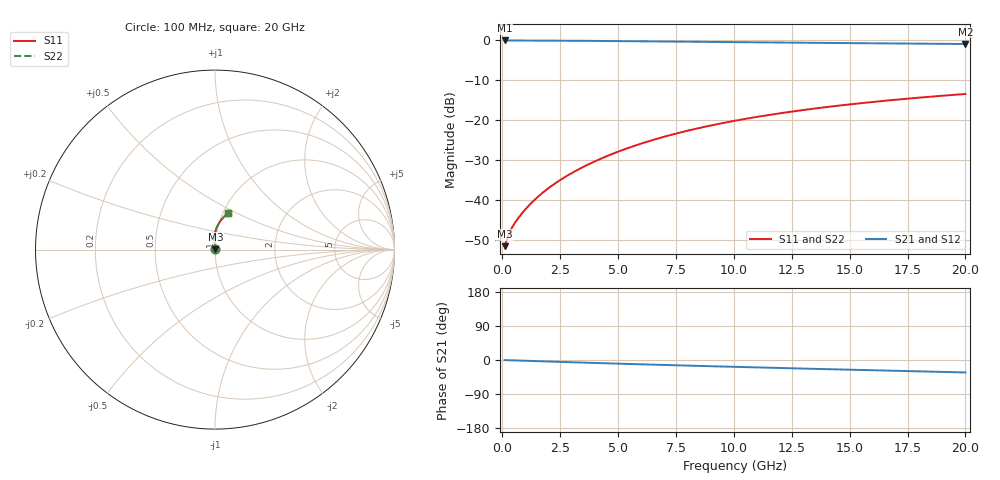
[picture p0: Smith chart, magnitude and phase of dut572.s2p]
! Touchstone file exported from HFSS 2024.1.0
!  File:  C:/UserFiles/LocalFiles/RDL_TSV_Batchsim/temp_RDL_bottom_572_1779690223.aedt
!  Generated:  02:26:06 PM May 25, 2026
!  Design:  RDL_bottom
!  Project:  temp_RDL_bottom_572_1779690223
!  Setup:  Setup1
!  Solution:  Sweep
! Variables:
!  dtsv = 10.80580581um
!  hbump = 3um
!  htsv = 58.52um
!  ldown = 544.76um
!  lrdl = 100um
!  p = 40
!  p1 = 40.38um
!  rhole = 1um
!  t = 450um
!  tdown = 3.23um
!  trdl = 3.915915916um
!  wdown = 27.39um
!  wrdl = 20um
# GHz S MA R 50.000000
! Terminal data exported
! Port[1] = RDL1_T1
! Port[2] = RDL1_T2
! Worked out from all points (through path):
!   200 points, 100 MHz to 20 GHz, reference 50 ohm
!   highest |S21| = -0.02 dB at 100 MHz (marker M1); lowest = -0.9 dB at 20 GHz (marker M2)
!   group delay of S21, straight-line fit = 4.49 ps
!   lowest |S11| = -51.5 dB at 100 MHz (marker M3), VSWR 1.01, Z = 50.2 + j0.0986 ohm
!   |S11| at or under -10 dB: start of sweep to end of sweep
!   |S22| runs from -51.5 to -13.4 dB; largest |S21 - S12| = 4.2e-15
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0.1  0.002658 21.7  0.9975 -0.2  0.9975 -0.2  0.002658 21.7
! Gamma 0 0 0 0
! Port Impedance 50 0 50 0
0.2  0.00324 34.7  0.9973 -0.4  0.9973 -0.4  0.00324 34.7
0.3  0.003852 42.1  0.997 -0.6  0.997 -0.6  0.003852 42.1
0.4  0.004423 47.3  0.9968 -0.8  0.9968 -0.8  0.004423 47.3
0.5  0.004964 51.6  0.9966 -1.0  0.9966 -1.0  0.004964 51.6
0.8  0.006573 61.6  0.996 -1.6  0.996 -1.6  0.006574 61.6
1.2  0.008892 70.9  0.9953 -2.4  0.9953 -2.4  0.008892 70.9
1.7  0.0121 78.6  0.994 -3.4  0.994 -3.4  0.0121 78.6
2.2  0.01562 83.7  0.9925 -4.4  0.9925 -4.4  0.01562 83.7
2.8  0.02022 87.9  0.9903 -5.6  0.9903 -5.6  0.02022 87.9
3.5  0.02611 91.0  0.9872 -6.9  0.9872 -6.9  0.02611 91.0
4.2  0.03253 92.9  0.9837 -8.2  0.9837 -8.2  0.03253 92.9
5  0.04045 94.0  0.9793 -9.7  0.9793 -9.7  0.04044 93.9
5.9  0.04999 94.2  0.9741 -11.3  0.9741 -11.3  0.04998 94.2
6.8  0.06005 93.8  0.9687 -12.8  0.9687 -12.8  0.06004 93.7
8.4  0.0788 91.9  0.9592 -15.5  0.9592 -15.5  0.07879 91.9
10.1  0.09934 89.1  0.9495 -18.2  0.9495 -18.2  0.09932 89.1
11.7  0.1188 86.2  0.9408 -20.7  0.9408 -20.7  0.1187 86.2
13.4  0.1392 83.0  0.932 -23.2  0.932 -23.2  0.1392 82.9
15  0.158 79.9  0.924 -25.6  0.924 -25.6  0.158 79.9
16.7  0.1775 76.7  0.9159 -28.1  0.9159 -28.1  0.1774 76.7
20  0.2133 70.7  0.9009 -32.9  0.9009 -32.9  0.2132 70.7
